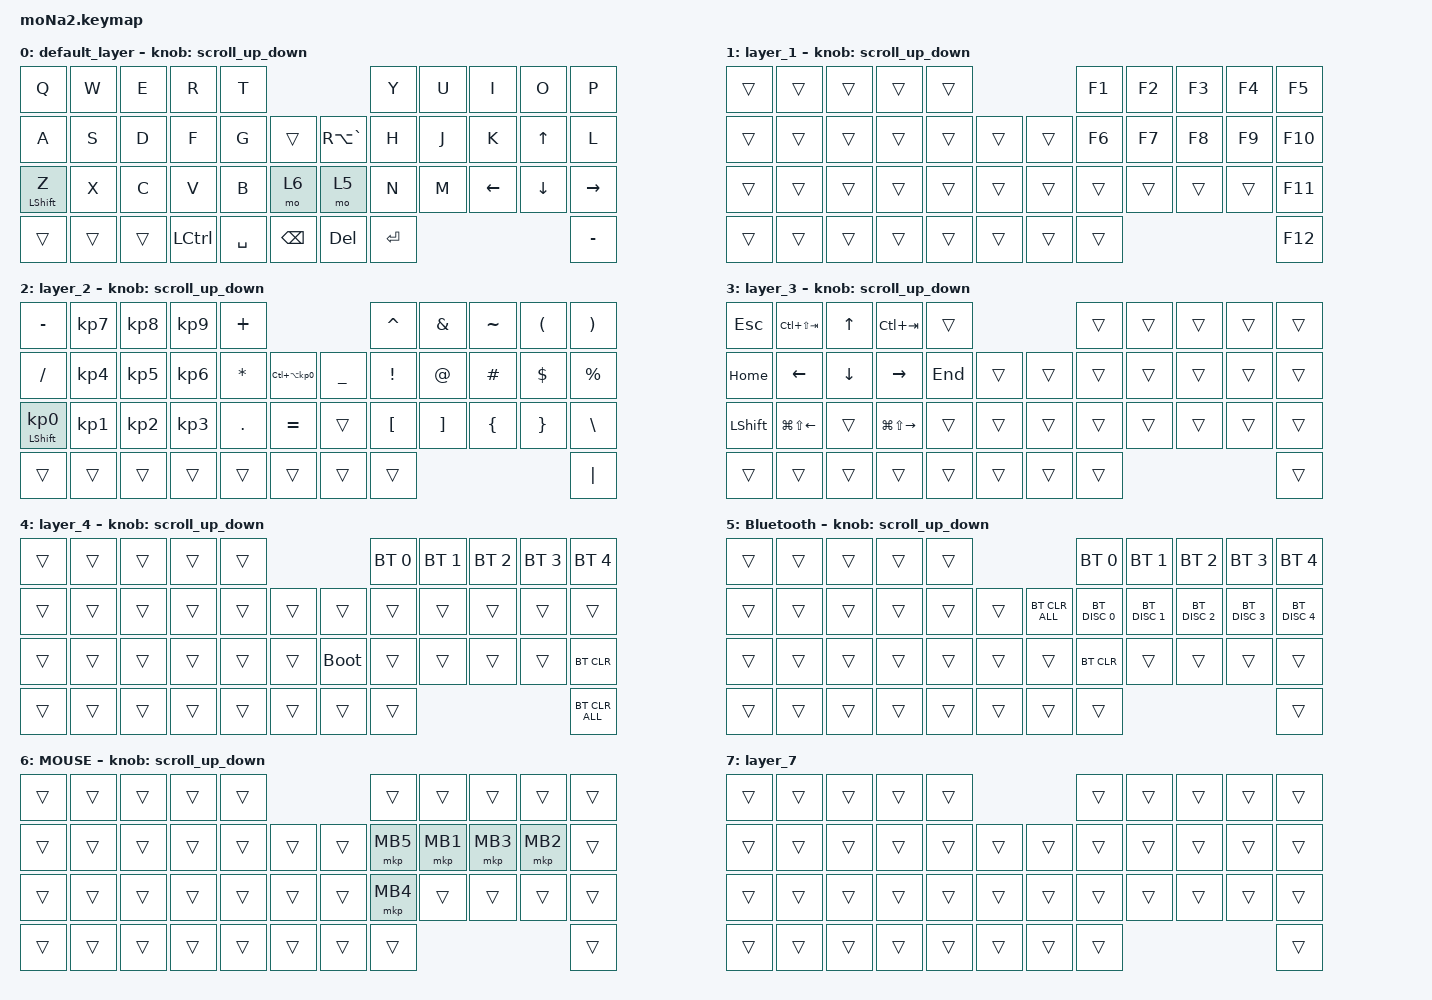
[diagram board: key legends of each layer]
#include <behaviors.dtsi>
#include <dt-bindings/zmk/bt.h>
#include <dt-bindings/zmk/keys.h>
#include <dt-bindings/zmk/pointing.h>

#define ZMK_POINTING_DEFAULT_SCRL_VAL 100
#define MOUSE 6

&mt {
    flavor = "balanced";
    quick-tap-ms = <0>;
};

/ {
    combos {
        compatible = "zmk,combos";

        capture {
            bindings = <&capture>;
            key-positions = <34 22 12>;
        };

        mouseleft {
            bindings = <&mkp LCLK>;
            key-positions = <13 18>;
        };

        mouseright {
            bindings = <&mkp RCLK>;
            key-positions = <13 20>;
        };

        mousemid {
            bindings = <&mkp MCLK>;
            key-positions = <13 19>;
        };

        mouseprev {
            bindings = <&mkp MB4>;
            key-positions = <13 29>;
        };

        mousenext {
            bindings = <&mkp MB5>;
            key-positions = <13 17>;
        };
    };

    macros {
        to_layer_0: to_layer_0 {
            compatible = "zmk,behavior-macro-one-param";
            #binding-cells = <1>;
            bindings = <&to 0 &macro_param_1to1 &kp MACRO_PLACEHOLDER>;
            label = "TO_LAYER_0";
        };

        capture: capture {
            compatible = "zmk,behavior-macro";
            #binding-cells = <0>;
            bindings = <&kp LEFT_WIN &kp LEFT_SHIFT &kp S>, <&macro_press>;

            label = "CAPTURE";
        };
    };

    behaviors {
        lt_to_layer_0: lt_to_layer_0 {
            compatible = "zmk,behavior-hold-tap";
            label = "LAYER_TAP_TO_0";
            bindings = <&mo>, <&to_layer_0>;

            #binding-cells = <2>;
            tapping-term-ms = <200>;
        };

        scroll_up_down: behavior_sensor_rotate_mouse_wheel_up_down {
            compatible = "zmk,behavior-sensor-rotate";
            #sensor-binding-cells = <0>;
            bindings = <&msc SCRL_UP>, <&msc SCRL_DOWN>;

            tap-ms = <20>;
        };
    };

    keymap {
        compatible = "zmk,keymap";

        default_layer {
            bindings = <
&kp Q             &kp W   &kp E   &kp R      &kp T                                      &kp Y      &kp U  &kp I     &kp O     &kp P
&kp A             &kp S   &kp D   &kp F      &kp G      &trans           &kp RA(GRAVE)  &kp H      &kp J  &kp K     &kp UP    &kp L
&mt LEFT_SHIFT Z  &kp X   &kp C   &kp V      &kp B      &mo 6            &mo 5          &kp N      &kp M  &kp LEFT  &kp DOWN  &kp RIGHT
&trans            &trans  &trans  &kp LCTRL  &kp SPACE  &kp BACKSPACE    &kp DEL        &kp ENTER                             &kp MINUS
            >;

            sensor-bindings = <&scroll_up_down>;
        };

        layer_1 {
            bindings = <
&trans  &trans  &trans  &trans  &trans                    &kp F1  &kp F2  &kp F3  &kp F4  &kp F5
&trans  &trans  &trans  &trans  &trans  &trans    &trans  &kp F6  &kp F7  &kp F8  &kp F9  &kp F10
&trans  &trans  &trans  &trans  &trans  &trans    &trans  &trans  &trans  &trans  &trans  &kp F11
&trans  &trans  &trans  &trans  &trans  &trans    &trans  &trans                          &kp F12
            >;

            sensor-bindings = <&scroll_up_down>;
        };

        layer_2 {
            bindings = <
&kp MINUS                   &kp KP_NUMBER_7  &kp KP_NUMBER_8  &kp KP_NUMBER_9  &kp PLUS                                                 &kp CARET         &kp AMPERSAND      &kp TILDE       &kp LEFT_PARENTHESIS  &kp RIGHT_PARENTHESIS
&kp SLASH                   &kp KP_NUMBER_4  &kp KP_NUMBER_5  &kp KP_NUMBER_6  &kp ASTERISK  &kp LC(LA(KP_NUMBER_0))    &kp UNDERSCORE  &kp EXCLAMATION   &kp AT_SIGN        &kp HASH        &kp DOLLAR            &kp PERCENT
&mt LEFT_SHIFT KP_NUMBER_0  &kp KP_NUMBER_1  &kp KP_NUMBER_2  &kp KP_NUMBER_3  &kp PERIOD    &kp EQUAL                  &trans          &kp LEFT_BRACKET  &kp RIGHT_BRACKET  &kp LEFT_BRACE  &kp RIGHT_BRACE       &kp BACKSLASH
&trans                      &trans           &trans           &trans           &trans        &trans                     &trans          &trans                                                                     &kp PIPE
            >;

            sensor-bindings = <&scroll_up_down>;
        };

        layer_3 {
            bindings = <
&kp ESCAPE      &kp LC(LS(TAB))         &kp UP_ARROW    &kp LC(TAB)              &trans                     &trans  &trans  &trans  &trans  &trans
&kp HOME        &kp LEFT_ARROW          &kp DOWN_ARROW  &kp RIGHT_ARROW          &kp END  &trans    &trans  &trans  &trans  &trans  &trans  &trans
&kp LEFT_SHIFT  &kp LG(LS(LEFT_ARROW))  &trans          &kp LG(LS(RIGHT_ARROW))  &trans   &trans    &trans  &trans  &trans  &trans  &trans  &trans
&trans          &trans                  &trans          &trans                   &trans   &trans    &trans  &trans                          &trans
            >;

            sensor-bindings = <&scroll_up_down>;
        };

        layer_4 {
            bindings = <
&trans  &trans  &trans  &trans  &trans                         &bt BT_SEL 0  &bt BT_SEL 1  &bt BT_SEL 2  &bt BT_SEL 3  &bt BT_SEL 4
&trans  &trans  &trans  &trans  &trans  &trans    &trans       &trans        &trans        &trans        &trans        &trans
&trans  &trans  &trans  &trans  &trans  &trans    &bootloader  &trans        &trans        &trans        &trans        &bt BT_CLR
&trans  &trans  &trans  &trans  &trans  &trans    &trans       &trans                                                  &bt BT_CLR_ALL
            >;

            sensor-bindings = <&scroll_up_down>;
        };

        Bluetooth {
            bindings = <
&trans  &trans  &trans  &trans  &trans                            &bt BT_SEL 0   &bt BT_SEL 1   &bt BT_SEL 2   &bt BT_SEL 3   &bt BT_SEL 4
&trans  &trans  &trans  &trans  &trans  &trans    &bt BT_CLR_ALL  &bt BT_DISC 0  &bt BT_DISC 1  &bt BT_DISC 2  &bt BT_DISC 3  &bt BT_DISC 4
&trans  &trans  &trans  &trans  &trans  &trans    &trans          &bt BT_CLR     &trans         &trans         &trans         &trans
&trans  &trans  &trans  &trans  &trans  &trans    &trans          &trans                                                      &trans
            >;

            sensor-bindings = <&scroll_up_down>;
        };

        MOUSE {
            bindings = <
&trans  &trans  &trans  &trans  &trans                    &trans    &trans    &trans    &trans    &trans
&trans  &trans  &trans  &trans  &trans  &trans    &trans  &mkp MB5  &mkp MB1  &mkp MB3  &mkp MB2  &trans
&trans  &trans  &trans  &trans  &trans  &trans    &trans  &mkp MB4  &trans    &trans    &trans    &trans
&trans  &trans  &trans  &trans  &trans  &trans    &trans  &trans                                  &trans
            >;

            sensor-bindings = <&scroll_up_down>;
        };

        layer_7 {
            bindings = <
&trans  &trans  &trans  &trans  &trans                    &trans  &trans  &trans  &trans  &trans
&trans  &trans  &trans  &trans  &trans  &trans    &trans  &trans  &trans  &trans  &trans  &trans
&trans  &trans  &trans  &trans  &trans  &trans    &trans  &trans  &trans  &trans  &trans  &trans
&trans  &trans  &trans  &trans  &trans  &trans    &trans  &trans                          &trans
            >;
        };
    };
};
